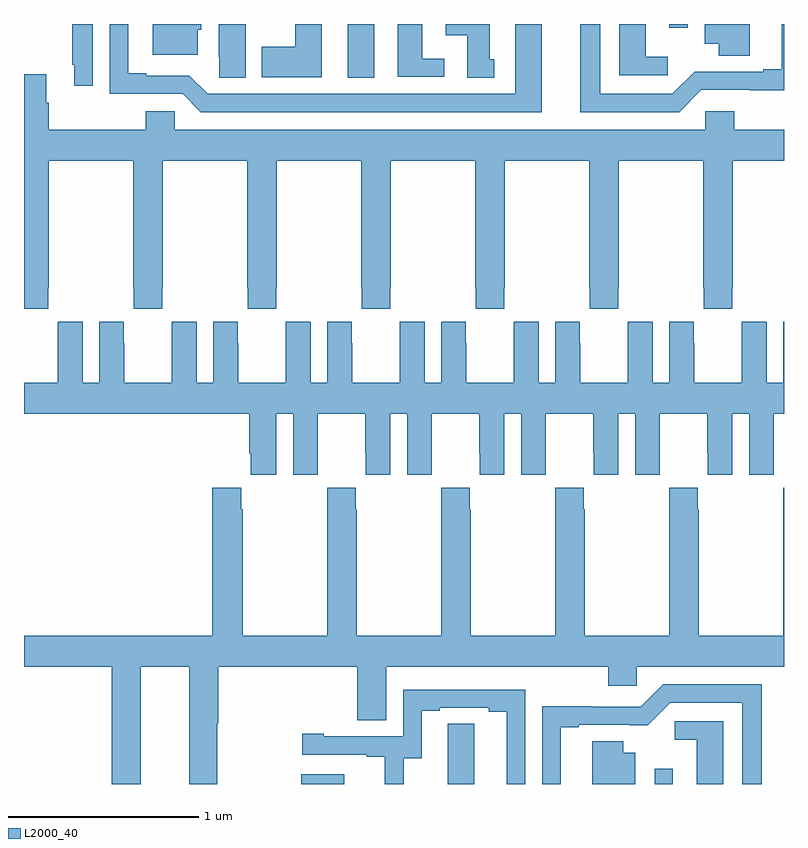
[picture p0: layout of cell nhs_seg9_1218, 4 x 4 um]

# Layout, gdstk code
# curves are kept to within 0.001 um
import gdstk
lib = gdstk.Library(unit=1e-6, precision=1e-09)
def R(c, l, rs):  # rectangles x0, y0, x1, y1
    for r in rs: c.add(gdstk.rectangle(r[:2], r[2:], *l))
def P(c, l, *ps):  # polygons
    for p in ps: c.add(gdstk.Polygon(p, *l))
L2000_40 = (2000, 40)

nhs_seg9_1218 = lib.new_cell('nhs_seg9_1218')
R(nhs_seg9_1218, L2000_40, [(180.458,1166.5,180.685,1166.551), (182.319,1166.5,182.415,1166.581), (180.704,1170.217,180.844,1170.5), (182.397,1170.48,182.493,1170.5)])
P(nhs_seg9_1218, L2000_40, [(182.821,1170.5),(182.582,1170.5),(182.582,1170.395),(182.657,1170.395),(182.657,1170.334),(182.821,1170.334)],
  [(180.568,1170.5),(180.428,1170.5),(180.428,1170.381),(180.251,1170.381),(180.251,1170.221),(180.568,1170.221)],
  [(182.565,1170.153),(183,1170.152),(183,1170.5),(182.987,1170.5),(182.987,1170.262),(182.891,1170.262),(182.891,1170.249),(182.53,1170.25),(182.412,1170.132),(182.032,1170.132),(182.032,1170.5),(181.928,1170.5),(181.928,1170.036),(182.448,1170.036)],
  [(181.213,1170.318),(181.096,1170.318),(181.096,1170.5),(180.968,1170.5),(180.968,1170.222),(181.213,1170.222)],
  [(182.389,1170.328),(182.272,1170.328),(182.272,1170.5),(182.132,1170.5),(182.132,1170.231),(182.389,1170.231)],
  [(181.474,1170.315),(181.45,1170.315),(181.45,1170.5),(181.22,1170.5),(181.22,1170.44),(181.334,1170.44),(181.334,1170.217),(181.474,1170.217)],
  [(179.914,1170.471),(179.932,1170.471),(179.932,1170.5),(179.678,1170.5),(179.678,1170.338),(179.914,1170.338)],
  [(180.166,1170.5),(180.026,1170.5),(180.026,1170.328),(180.027,1170.328),(180.027,1170.217),(180.166,1170.217)],
  [(179.361,1170.5),(179.253,1170.5),(179.253,1170.286),(179.264,1170.286),(179.264,1170.174),(179.361,1170.174)],
  [(181.726,1170.5),(181.586,1170.5),(181.586,1170.132),(179.967,1170.132),(179.871,1170.228),(179.644,1170.228),(179.644,1170.241),(179.548,1170.241),(179.548,1170.5),(179.451,1170.5),(179.451,1170.132),(179.835,1170.132),(179.931,1170.036),(181.726,1170.036)],
  [(179.127,1169.113),(179.13,1169.113),(179.13,1169.78),(179.575,1169.78),(179.575,1169.113),(179.577,1169.113),(179.577,1169.001),(179.727,1169.001),(179.727,1169.113),(179.73,1169.113),(179.73,1169.78),(180.175,1169.78),(180.175,1169.113),(180.177,1169.113),(180.177,1169.001),(180.327,1169.001),(180.327,1169.113),(180.33,1169.113),(180.33,1169.78),(180.775,1169.78),(180.775,1169.113),(180.777,1169.113),(180.777,1169.001),(180.927,1169.001),(180.927,1169.113),(180.93,1169.113),(180.93,1169.78),(181.375,1169.78),(181.375,1169.113),(181.377,1169.113),(181.377,1169.001),(181.527,1169.001),(181.527,1169.113),(181.53,1169.113),(181.53,1169.78),(181.975,1169.78),(181.975,1169.113),(181.977,1169.113),(181.977,1169.001),(182.127,1169.001),(182.127,1169.113),(182.13,1169.113),(182.13,1169.78),(182.575,1169.78),(182.575,1169.113),(182.577,1169.113),(182.577,1169.001),(182.727,1169.001),(182.727,1169.113),(182.73,1169.113),(182.73,1169.78),(183,1169.78),(183,1169.944),(182.738,1169.944),(182.738,1170.042),(182.586,1170.042),(182.586,1169.944),(179.793,1169.944),(179.793,1170.042),(179.642,1170.042),(179.642,1169.944),(179.129,1169.944),(179.129,1170.086),(179.116,1170.086),(179.116,1170.235),(179,1170.235),(179,1169.001),(179.127,1169.001)],
  [(179.778,1168.933),(179.778,1168.82),(179.777,1168.82),(179.777,1168.612),(179.527,1168.612),(179.527,1168.82),(179.526,1168.82),(179.526,1168.933),(179.396,1168.933),(179.396,1168.612),(179.308,1168.612),(179.308,1168.933),(179.178,1168.933),(179.178,1168.82),(179.177,1168.82),(179.177,1168.612),(179,1168.612),(179,1168.448),(180.185,1168.448),(180.185,1168.24),(180.194,1168.24),(180.194,1168.128),(180.328,1168.128),(180.328,1168.448),(180.416,1168.448),(180.416,1168.128),(180.546,1168.128),(180.546,1168.24),(180.547,1168.24),(180.547,1168.448),(180.797,1168.448),(180.797,1168.24),(180.798,1168.24),(180.798,1168.128),(180.928,1168.128),(180.928,1168.448),(181.016,1168.448),(181.016,1168.128),(181.146,1168.128),(181.146,1168.24),(181.147,1168.24),(181.147,1168.448),(181.397,1168.448),(181.397,1168.24),(181.398,1168.24),(181.398,1168.128),(181.528,1168.128),(181.528,1168.448),(181.616,1168.448),(181.616,1168.128),(181.746,1168.128),(181.746,1168.24),(181.747,1168.24),(181.747,1168.448),(181.997,1168.448),(181.997,1168.24),(181.998,1168.24),(181.998,1168.128),(182.128,1168.128),(182.128,1168.448),(182.216,1168.448),(182.216,1168.128),(182.346,1168.128),(182.346,1168.24),(182.347,1168.24),(182.347,1168.448),(182.597,1168.448),(182.597,1168.24),(182.598,1168.24),(182.598,1168.128),(182.728,1168.128),(182.728,1168.448),(182.816,1168.448),(182.816,1168.128),(182.946,1168.128),(182.946,1168.24),(182.947,1168.24),(182.947,1168.448),(183,1168.448),(183,1168.933),(182.996,1168.933),(182.996,1168.612),(182.908,1168.612),(182.908,1168.933),(182.778,1168.933),(182.778,1168.82),(182.777,1168.82),(182.777,1168.612),(182.527,1168.612),(182.527,1168.82),(182.526,1168.82),(182.526,1168.933),(182.396,1168.933),(182.396,1168.612),(182.308,1168.612),(182.308,1168.933),(182.178,1168.933),(182.178,1168.82),(182.177,1168.82),(182.177,1168.612),(181.927,1168.612),(181.927,1168.82),(181.926,1168.82),(181.926,1168.933),(181.796,1168.933),(181.796,1168.612),(181.708,1168.612),(181.708,1168.933),(181.578,1168.933),(181.578,1168.82),(181.577,1168.82),(181.577,1168.612),(181.327,1168.612),(181.327,1168.82),(181.326,1168.82),(181.326,1168.933),(181.196,1168.933),(181.196,1168.612),(181.108,1168.612),(181.108,1168.933),(180.978,1168.933),(180.978,1168.82),(180.977,1168.82),(180.977,1168.612),(180.727,1168.612),(180.727,1168.82),(180.726,1168.82),(180.726,1168.933),(180.596,1168.933),(180.596,1168.612),(180.508,1168.612),(180.508,1168.933),(180.378,1168.933),(180.378,1168.82),(180.377,1168.82),(180.377,1168.612),(180.127,1168.612),(180.127,1168.82),(180.126,1168.82),(180.126,1168.933),(179.996,1168.933),(179.996,1168.612),(179.908,1168.612),(179.908,1168.933)],
  [(181.197,1168.06),(181.197,1167.947),(181.195,1167.947),(181.195,1167.28),(180.75,1167.28),(180.75,1167.947),(180.747,1167.947),(180.747,1168.06),(180.597,1168.06),(180.597,1167.947),(180.595,1167.947),(180.595,1167.28),(180.15,1167.28),(180.15,1167.947),(180.143,1167.947),(180.143,1168.06),(179.99,1168.06),(179.99,1167.28),(179,1167.28),(179,1167.116),(179.462,1167.116),(179.462,1166.5),(179.614,1166.5),(179.614,1167.116),(179.87,1167.116),(179.87,1166.5),(180.018,1166.5),(180.018,1166.82),(180.023,1166.82),(180.023,1167.116),(180.755,1167.116),(180.755,1166.836),(180.907,1166.836),(180.907,1167.116),(182.075,1167.116),(182.075,1167.018),(182.226,1167.018),(182.226,1167.116),(183,1167.116),(183,1168.06),(182.997,1168.06),(182.997,1167.947),(182.995,1167.947),(182.995,1167.28),(182.55,1167.28),(182.55,1167.947),(182.547,1167.947),(182.547,1168.06),(182.397,1168.06),(182.397,1167.947),(182.395,1167.947),(182.395,1167.28),(181.95,1167.28),(181.95,1167.947),(181.947,1167.947),(181.947,1168.06),(181.797,1168.06),(181.797,1167.947),(181.795,1167.947),(181.795,1167.28),(181.35,1167.28),(181.35,1167.947),(181.347,1167.947),(181.347,1168.06)],
  [(181.825,1166.799),(181.921,1166.799),(181.921,1166.811),(182.282,1166.81),(182.4,1166.928),(182.78,1166.928),(182.78,1166.5),(182.884,1166.5),(182.884,1167.024),(182.364,1167.024),(182.247,1166.907),(181.991,1166.907),(181.991,1166.909),(181.728,1166.909),(181.728,1166.5),(181.825,1166.5)],
  [(180.999,1166.635),(181.093,1166.635),(181.093,1166.886),(181.189,1166.886),(181.189,1166.901),(181.445,1166.901),(181.445,1166.881),(181.541,1166.881),(181.541,1166.5),(181.638,1166.5),(181.638,1166.997),(180.996,1166.997),(180.996,1166.751),(180.577,1166.751),(180.577,1166.764),(180.465,1166.764),(180.465,1166.655),(180.803,1166.655),(180.803,1166.643),(180.899,1166.643),(180.899,1166.5),(180.999,1166.5)],
  [(182.68,1166.829),(182.424,1166.829),(182.424,1166.732),(182.54,1166.732),(182.54,1166.5),(182.68,1166.5)],
  [(181.369,1166.816),(181.23,1166.816),(181.23,1166.708),(181.229,1166.708),(181.229,1166.5),(181.369,1166.5)],
  [(182.218,1166.665),(182.155,1166.665),(182.155,1166.726),(181.991,1166.726),(181.991,1166.5),(182.218,1166.5)])

lib.write_gds('nhs_seg9_1218.gds')
